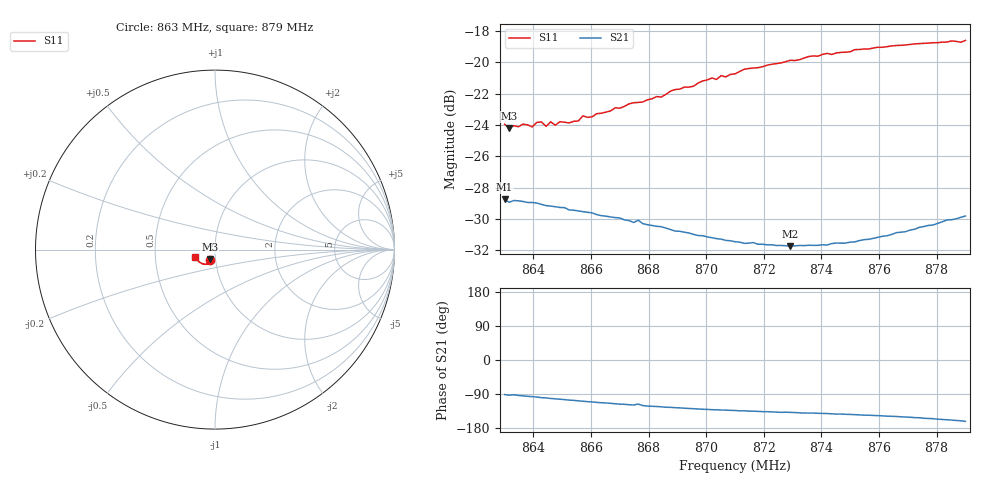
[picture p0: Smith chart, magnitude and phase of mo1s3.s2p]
# HZ S RI R 50
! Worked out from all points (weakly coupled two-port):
!   101 points, 863 MHz to 879 MHz, reference 50 ohm
!   highest |S21| = -28.76 dB at 863 MHz (marker M1); lowest = -31.7 dB at 872.92 MHz (marker M2)
!   lowest |S11| = -24.2 dB at 863.16 MHz (marker M3), VSWR 1.13, Z = 46.9 - j5.13 ohm
!   |S11| at or under -10 dB: start of sweep to end of sweep
!   S12 and S22 are empty: the file has one direction only
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8.63e8  -0.0302 -0.0557  -0.000744 -0.0365  0 0  0 0
8.6316e8  -0.0289 -0.0544  -0.00179 -0.0357  0 0  0 0
8.6364e8  -0.0299 -0.056  -0.00291 -0.0358  0 0  0 0
8.6396e8  -0.0271 -0.0559  -0.00411 -0.0354  0 0  0 0
8.6428e8  -0.027 -0.0586  -0.00576 -0.0347  0 0  0 0
8.6444e8  -0.0261 -0.0567  -0.00605 -0.0343  0 0  0 0
8.646e8  -0.0264 -0.0589  -0.00692 -0.034  0 0  0 0
8.6476e8  -0.0252 -0.0577  -0.0075 -0.0337  0 0  0 0
8.6492e8  -0.0256 -0.0593  -0.008 -0.0334  0 0  0 0
8.6524e8  -0.0238 -0.0594  -0.00919 -0.0325  0 0  0 0
8.6556e8  -0.0242 -0.0603  -0.0103 -0.0319  0 0  0 0
8.6572e8  -0.0242 -0.0629  -0.0107 -0.0316  0 0  0 0
8.6604e8  -0.0238 -0.0626  -0.0116 -0.0309  0 0  0 0
8.6684e8  -0.0268 -0.0663  -0.0137 -0.0288  0 0  0 0
8.6844e8  -0.0287 -0.0719  -0.0165 -0.0249  0 0  0 0
8.6892e8  -0.0327 -0.075  -0.0169 -0.0234  0 0  0 0
8.71e8  -0.0443 -0.0804  -0.0183 -0.0195  0 0  0 0
8.7292e8  -0.0602 -0.0817  -0.0193 -0.0172  0 0  0 0
8.7372e8  -0.0674 -0.0802  -0.0199 -0.0167  0 0  0 0
8.7516e8  -0.0815 -0.0734  -0.0217 -0.0156  0 0  0 0
8.7644e8  -0.0916 -0.0658  -0.0241 -0.0147  0 0  0 0
8.79e8  -0.1093 -0.0428  -0.0307 -0.0101  0 0  0 0
